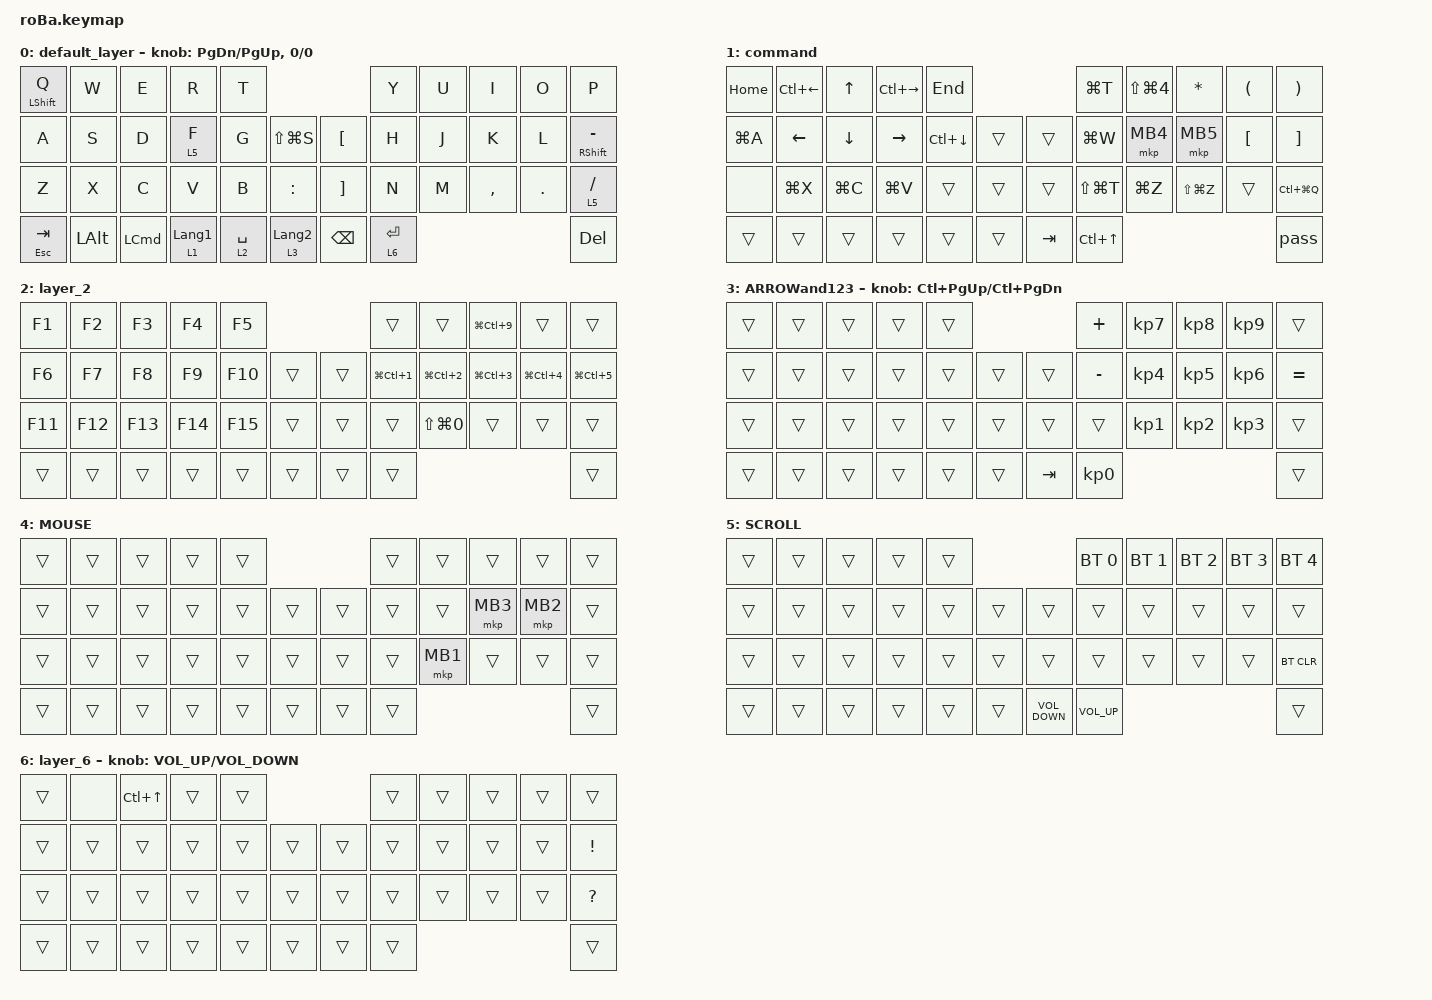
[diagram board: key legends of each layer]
#include <behaviors.dtsi>
#include <dt-bindings/zmk/bt.h>
#include <dt-bindings/zmk/keys.h>
#include <dt-bindings/zmk/pointing.h>

&mt {
    flavor = "balanced";
    quick-tap-ms = <0>;
};

&trackball {
    automouse-layer = <4>;
    scroll-layers = <5>;

    // arrows {
    //     layers = <3>;
    //     bindings =
    //         <&kp RIGHT_ARROW>,
    //         <&kp LEFT_ARROW>,
    //         <&kp UP_ARROW>,
    //         <&kp DOWN_ARROW>;
    //     tick = <10>;
    //     wait-ms = <5>;
    //     tap-ms = <5>;
    // };
};

/ {
    combos {
        compatible = "zmk,combos";

        tab {
            bindings = <&kp TAB>;
            key-positions = <37 40>;
        };

        shift_tab {
            bindings = <&kp LS(TAB)>;
            key-positions = <12 13>;
        };

        muhennkann {
            bindings = <&to_layer_0 INT_MUHENKAN>;
            key-positions = <11 10>;
        };

        double_quotation {
            bindings = <&kp DOUBLE_QUOTES>;
            key-positions = <20 21>;
        };

        eq {
            bindings = <&kp EQUAL>;
            key-positions = <24 25>;
        };

        MissionControl {
            bindings = <&kp LC(UP_ARROW)>;
            key-positions = <41 37>;
            layers = <0>;
        };
    };

    macros {
        to_layer_0: to_layer_0 {
            compatible = "zmk,behavior-macro-one-param";
            #binding-cells = <1>;
            bindings = <&to 0 &macro_param_1to1 &kp MACRO_PLACEHOLDER>;
            label = "TO_LAYER_0";
        };

        pass: new_macro {
            compatible = "zmk,behavior-macro";
            #binding-cells = <0>;
            bindings = <&kp LS(P) &kp E &kp G &kp A &kp S &kp U &kp S &kp KP_NUMBER_5 &kp KP_NUMBER_1 &kp KP_NUMBER_2 &kp KP_ENTER>;
            label = "NEW_MACRO";
        };
    };

    behaviors {
        lt_to_layer_0: lt_to_layer_0 {
            compatible = "zmk,behavior-hold-tap";
            label = "LAYER_TAP_TO_0";
            bindings = <&mo>, <&to_layer_0>;

            #binding-cells = <2>;
            tapping-term-ms = <200>;
        };
    };

    keymap {
        compatible = "zmk,keymap";

        default_layer {
            bindings = <
&mt LEFT_SHIFT Q  &kp W         &kp E             &kp R                        &kp T                                                           &kp Y        &kp U  &kp I      &kp O    &kp P
&kp A             &kp S         &kp D             &lt 5 F                      &kp G        &kp LS(LG(S))                    &kp LEFT_BRACKET  &kp H        &kp J  &kp K      &kp L    &mt RIGHT_SHIFT MINUS
&kp Z             &kp X         &kp C             &kp V                        &kp B        &kp COLON                        &kp RBKT          &kp N        &kp M  &kp COMMA  &kp DOT  &lt 5 SLASH
&mt ESC TAB       &kp LEFT_ALT  &kp LEFT_COMMAND  &lt_to_layer_0 1 LANGUAGE_1  &lt 2 SPACE  &lt_to_layer_0 3 LANGUAGE_2      &kp BACKSPACE     &lt 6 ENTER                             &kp DEL
            >;

            sensor-bindings = <&inc_dec_kp PAGE_DOWN PG_UP>, <&inc_dec_kp 0 0>;
        };

        command {
            bindings = <
&kp HOME   &kp LC(LEFT)  &kp UP_ARROW  &kp LC(RIGHT)  &kp END                            &kp LG(T)         &kp LS(LG(N4))  &kp ASTERISK   &kp LEFT_PARENTHESIS  &kp RIGHT_PARENTHESIS
&kp LG(A)  &kp LEFT      &kp DOWN      &kp RIGHT      &kp LC(DOWN)  &trans      &trans   &kp LG(W)         &mkp MB4        &mkp MB5       &kp LEFT_BRACKET      &kp RIGHT_BRACKET
&none      &kp LG(X)     &kp LG(C)     &kp LG(V)      &trans        &trans      &trans   &kp LS(LG(T))     &kp LG(Z)       &kp LS(LG(Z))  &trans                &kp LC(LG(Q))
&trans     &trans        &trans        &trans         &trans        &trans      &kp TAB  &kp LC(UP_ARROW)                                                       &pass
            >;
        };

        layer_2 {
            bindings = <
&kp F1   &kp F2   &kp F3   &kp F4   &kp F5                       &trans                &trans                &kp LG(LC(NUMBER_9))  &trans                &trans
&kp F6   &kp F7   &kp F8   &kp F9   &kp F10  &trans      &trans  &kp LG(LC(NUMBER_1))  &kp LG(LC(NUMBER_2))  &kp LG(LC(NUMBER_3))  &kp LG(LC(NUMBER_4))  &kp LG(LC(NUMBER_5))
&kp F11  &kp F12  &kp F13  &kp F14  &kp F15  &trans      &trans  &trans                &kp LS(LG(NUMBER_0))  &trans                &trans                &trans
&trans   &trans   &trans   &trans   &trans   &trans      &trans  &trans                                                                                  &trans
            >;
        };

        ARROWand123 {
            bindings = <
&trans  &trans  &trans  &trans  &trans                       &kp PLUS         &kp KP_NUMBER_7  &kp KP_NUMBER_8  &kp KP_NUMBER_9  &trans
&trans  &trans  &trans  &trans  &trans  &trans      &trans   &kp MINUS        &kp KP_NUMBER_4  &kp KP_N5        &kp KP_NUMBER_6  &kp EQUAL
&trans  &trans  &trans  &trans  &trans  &trans      &trans   &trans           &kp KP_N1        &kp KP_N2        &kp KP_N3        &trans
&trans  &trans  &trans  &trans  &trans  &trans      &kp TAB  &kp KP_NUMBER_0                                                     &trans
            >;

            sensor-bindings = <&inc_dec_kp LC(PAGE_UP) LC(PAGE_DOWN)>;
        };

        MOUSE {
            bindings = <
&trans  &trans  &trans  &trans  &trans                      &trans  &trans    &trans    &trans    &trans
&trans  &trans  &trans  &trans  &trans  &trans      &trans  &trans  &trans    &mkp MB3  &mkp MB2  &trans
&trans  &trans  &trans  &trans  &trans  &trans      &trans  &trans  &mkp MB1  &trans    &trans    &trans
&trans  &trans  &trans  &trans  &trans  &trans      &trans  &trans                                &trans
            >;
        };

        SCROLL {
            bindings = <
&trans  &trans  &trans  &trans  &trans                                 &bt BT_SEL 0     &bt BT_SEL 1  &bt BT_SEL 2  &bt BT_SEL 3  &bt BT_SEL 4
&trans  &trans  &trans  &trans  &trans  &trans      &trans             &trans           &trans        &trans        &trans        &trans
&trans  &trans  &trans  &trans  &trans  &trans      &trans             &trans           &trans        &trans        &trans        &bt BT_CLR
&trans  &trans  &trans  &trans  &trans  &trans      &kp C_VOLUME_DOWN  &kp K_VOLUME_UP                                            &trans
            >;
        };

        layer_6 {
            bindings = <
&trans  &none   &kp LC(UP_ARROW)  &trans  &trans                      &trans  &trans  &trans  &trans  &trans
&trans  &trans  &trans            &trans  &trans  &trans      &trans  &trans  &trans  &trans  &trans  &kp EXCLAMATION
&trans  &trans  &trans            &trans  &trans  &trans      &trans  &trans  &trans  &trans  &trans  &kp QUESTION
&trans  &trans  &trans            &trans  &trans  &trans      &trans  &trans                          &trans
            >;

            sensor-bindings = <&inc_dec_kp K_VOLUME_UP K_VOLUME_DOWN>;
        };
    };
};
